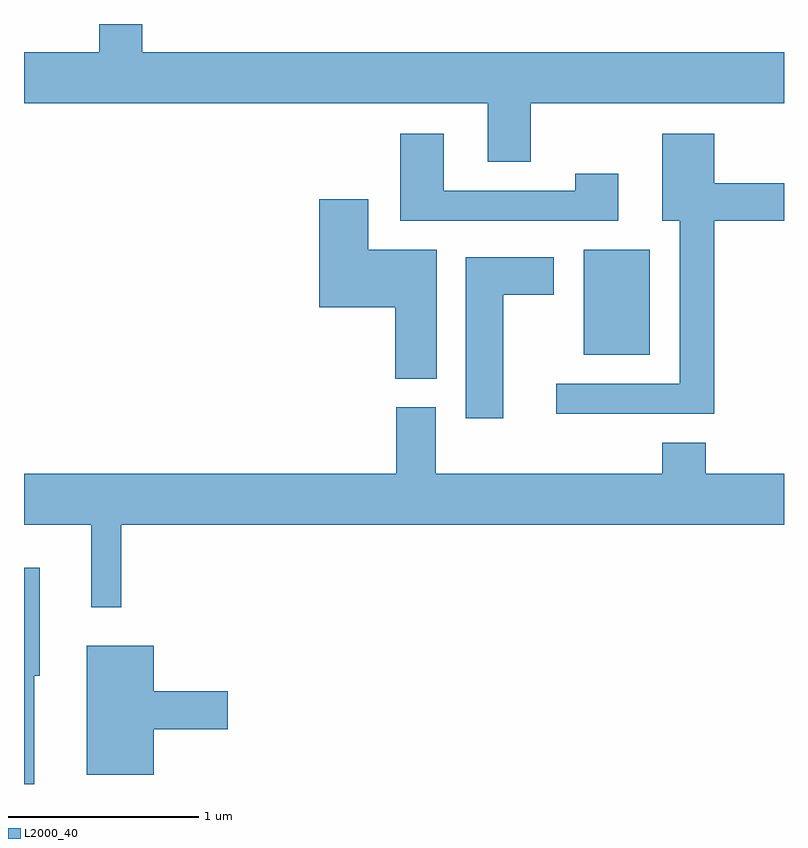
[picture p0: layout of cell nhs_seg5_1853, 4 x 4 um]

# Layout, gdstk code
import gdstk
lib = gdstk.Library(unit=1e-6, precision=1e-09)
def R(c, l, rs):  # rectangles x0, y0, x1, y1
    for r in rs: c.add(gdstk.rectangle(r[:2], r[2:], *l))
def P(c, l, *ps):  # polygons
    for p in ps: c.add(gdstk.Polygon(p, *l))
L2000_40 = (2000, 40)

nhs_seg5_1853 = lib.new_cell('nhs_seg5_1853')
R(nhs_seg5_1853, L2000_40, [(242.556,1484.331,242.904,1484.884)])
P(nhs_seg5_1853, L2000_40, [(240.234,1486.072),(240.006,1486.072),(240.006,1485.924),(239.611,1485.924),(239.611,1485.656),(242.051,1485.656),(242.051,1485.346),(242.279,1485.346),(242.279,1485.656),(243.611,1485.656),(243.611,1485.924),(240.234,1485.924)],
  [(243.244,1485.036),(243.611,1485.036),(243.611,1485.234),(243.244,1485.234),(243.244,1485.494),(242.971,1485.494),(242.971,1485.036),(243.061,1485.036),(243.061,1484.179),(242.413,1484.179),(242.413,1484.021),(243.244,1484.021)],
  [(242.739,1485.284),(242.511,1485.284),(242.511,1485.194),(241.819,1485.194),(241.819,1485.494),(241.591,1485.494),(241.591,1485.036),(242.739,1485.036)],
  [(241.784,1484.884),(241.424,1484.884),(241.424,1485.149),(241.166,1485.149),(241.166,1484.581),(241.566,1484.581),(241.566,1484.206),(241.784,1484.206)],
  [(242.134,1484.646),(242.399,1484.646),(242.399,1484.844),(241.936,1484.844),(241.936,1483.996),(242.134,1483.996)],
  [(240.124,1483.436),(243.611,1483.436),(243.611,1483.704),(243.199,1483.704),(243.199,1483.869),(242.971,1483.869),(242.971,1483.704),(241.779,1483.704),(241.779,1484.054),(241.571,1484.054),(241.571,1483.704),(239.611,1483.704),(239.611,1483.436),(239.966,1483.436),(239.966,1483.003),(240.124,1483.003)],
  [(239.664,1482.641),(239.694,1482.641),(239.694,1483.209),(239.611,1483.209),(239.611,1482.072),(239.664,1482.072)],
  [(240.294,1482.361),(240.684,1482.361),(240.684,1482.559),(240.294,1482.559),(240.294,1482.799),(239.941,1482.799),(239.941,1482.121),(240.294,1482.121)])

lib.write_gds('nhs_seg5_1853.gds')
